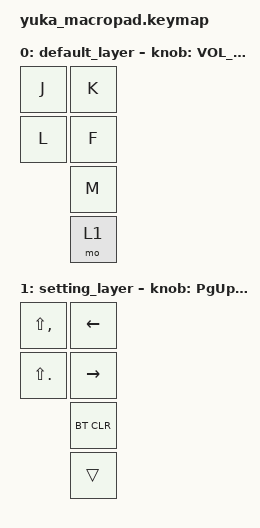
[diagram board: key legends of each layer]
// This file was generated from a template. Edit it to match your keyboard.
// See https://zmk.dev/docs/development/hardware-integration/new-shield for more instructions.

#include <behaviors.dtsi>
#include <dt-bindings/zmk/keys.h>
#include <dt-bindings/zmk/bt.h>
#include <dt-bindings/zmk/outputs.h>

/ {
    // 1. センサー（エンコーダー）の登録
    // overlayの &main_encoder をキーマップ上の機能と紐付けます

    keymap {
        compatible = "zmk,keymap";

        default_layer {
          bindings = <
            &kp J        &kp L        // 10秒戻る / 進む
            &kp K        &kp F        // 再生停止 / フルスク
                         &kp M        // ミュート
                         &mo 1        // Layer1
            >;

            // 音量ノブ（メイン操作）
            sensor-bindings = <&inc_dec_kp C_VOL_DN C_VOL_UP>;
        };
//        // メインレイヤー (Layer 0)
//        default_layer {
//            // matrix-transformの順序: 
//            // SW1, SW3 (1段目) / SW2, SW4 (2段目) / なし, SW5 (3段目) / なし, SW6 (4段目)
//            bindings = <
//                &bt BT_CLR   &kp A    // 1段目: SW1, SW3
//                &bt BT_SEL 0 &kp D    // 2段目: SW2, SW4 (注: SW2とSW3は物理的に別だが同じRC値)
//                             &kp E    // 3段目: SW5 (右側のみ)
//                             &mo 1    // 4段目: SW6 (右側のみ / レイヤー1へ)
//            >;
//
//            // エンコーダーの動作
//            sensor-bindings = <&inc_dec_kp C_VOL_UP C_VOL_DN>;
//        };
      setting_layer {
          bindings = <
              &kp LS(COMMA)   &kp LS(DOT)   // 再生速度±
              &kp LEFT        &kp RIGHT     // 5秒シーク
                               &bt BT_CLR        // キャッシュクリア
                               &trans
          >;
      
          // スクロール用（コメント読む用）
          sensor-bindings = <&inc_dec_kp PG_UP PG_DN>;
      };
//        // 設定用レイヤー (Layer 1) - SW6を押しながら操作
//        setting_layer {
//            bindings = <
//                &bt BT_CLR &out OUT_TOG // BT初期化 / 出力切替
//                &bt BT_SEL 0 &bt BT_SEL 1 
//                             &none
//                             &trans     // SW6自身
//            >;
//
//            // レイヤー1でのエンコーダー動作（例：ページスクロール）
//            sensor-bindings = <&inc_dec_kp PG_UP PG_DN>;
//        };
    };
};
